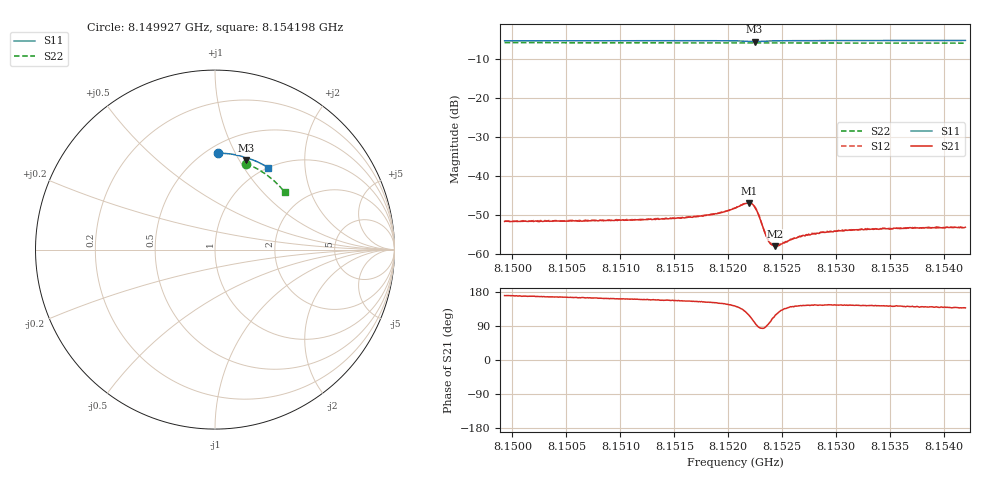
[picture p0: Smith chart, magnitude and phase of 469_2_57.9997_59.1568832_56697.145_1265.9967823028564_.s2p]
#  HZ  S  RI  R  50.00
! Rohde & Schwarz Vector Network Analyzer
! Rohde-Schwarz,ZNB20-2Port,1311601062101988,3.16
! Created: UTC 3/21/2024, 1:11:17 AM
! freq[Hz]  re:S11  im:S11  re:S21  im:S21  re:S12  im:S12  re:S22  im:S22
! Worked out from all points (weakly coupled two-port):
!   401 points, 8.149927 GHz to 8.154198 GHz, reference 50 ohm
!   highest |S21| = -46.85 dB at 8.15219 GHz (marker M1); lowest = -57.9 dB at 8.152436 GHz (marker M2)
!   lowest |S11| = -5.6 dB at 8.152244 GHz (marker M3), VSWR 3.22, Z = 38.7 + j53.2 ohm
!   |S11| at or under -10 dB: nowhere
!   |S22| runs from -6.0 to -5.9 dB; largest |S21 - S12| = 0.00011
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8.1499271e9  0.0187 0.5379  -0.00259 0.000459  -0.00263 0.000509  0.1723 0.4796
8.1506424e9  0.0685 0.5348  -0.00256 0.000691  -0.00261 0.000746  0.2143 0.4612
8.1513577e9  0.1181 0.5272  -0.0026 0.00102  -0.00263 0.00111  0.2545 0.4392
8.1515819e9  0.1338 0.5237  -0.00268 0.00121  -0.00271 0.00126  0.2668 0.4316
8.1518061e9  0.1498 0.5194  -0.00283 0.00147  -0.0028 0.00151  0.2786 0.4235
8.1519449e9  0.1601 0.5157  -0.00296 0.00176  -0.003 0.00181  0.2859 0.4183
8.1520623e9  0.1691 0.5109  -0.00309 0.00238  -0.00305 0.00246  0.2918 0.4138
8.152137e9  0.1743 0.5055  -0.00292 0.0032  -0.00291 0.0033  0.2956 0.4107
8.1521904e9  0.1751 0.5  -0.00218 0.00399  -0.00211 0.00407  0.2981 0.4085
8.1522225e9  0.1732 0.4975  -0.00128 0.00421  -0.00125 0.00427  0.2995 0.4074
8.1522438e9  0.1713 0.4974  -0.000633 0.00398  -0.0006 0.00407  0.3003 0.4066
8.1522758e9  0.1692 0.4994  0.000116 0.00331  0.000125 0.00334  0.3019 0.4055
8.1523399e9  0.172 0.5047  0.000137 0.00186  0.000191 0.0019  0.3051 0.4033
8.1523719e9  0.1748 0.5062  -0.000126 0.00147  -9.28e-05 0.00151  0.3069 0.402
8.1524039e9  0.1779 0.507  -0.0004 0.00127  -0.000386 0.00126  0.3084 0.4008
8.152436e9  0.1809 0.5071  -0.000602 0.00112  -0.000582 0.00118  0.31 0.3995
8.1524787e9  0.1846 0.5068  -0.000819 0.00103  -0.000821 0.00107  0.3122 0.3979
8.1526709e9  0.1997 0.5032  -0.00135 0.000993  -0.00137 0.00101  0.3216 0.3901
8.1527776e9  0.2072 0.5007  -0.00149 0.00104  -0.00152 0.00107  0.3269 0.3856
8.1531086e9  0.2296 0.4919  -0.00164 0.00119  -0.00167 0.00118  0.3421 0.3711
8.1534929e9  0.254 0.4805  -0.00166 0.00128  -0.0017 0.00132  0.3589 0.354
8.1541976e9  0.2967 0.4566  -0.00164 0.0015  -0.00161 0.00151  0.3879 0.3203
